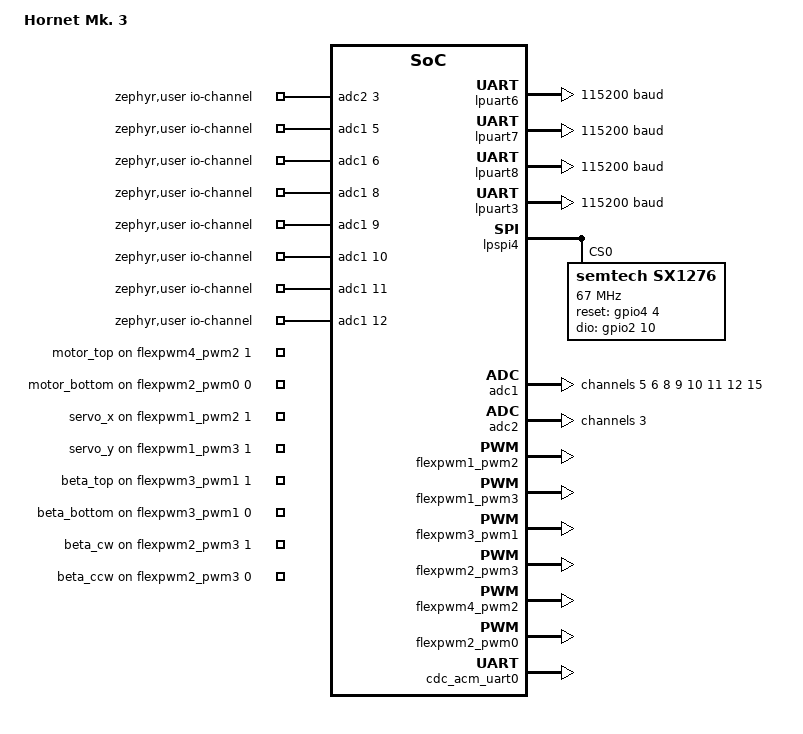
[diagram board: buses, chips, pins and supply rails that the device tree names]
/*
Hornet Mk. 3 board.
 */

/dts-v1/;

#include <../boards/pjrc/teensy4/teensy41.dts>
#include <zephyr/dt-bindings/pwm/pwm.h>

#define ANALOG_SENSORS_ADC_RESOLUTION 12
#define ANALOG_SENSORS_ADC_OVERSAMPLING 5

/*
TODO:
- LoRa radio
- Remove ADC1
*/

/ {
    model = "Hornet Mk. 3";

    aliases {
        // VN-300 IMU
        imu-uart = &lpuart6; // TX: Pin 1 (AD_B0_02), RX: Pin 0 (AD_B0_03)

        // TF02-Pro LiDARs
        lidar-1-uart = &lpuart7; // TX: Pin 29 (EMC_31), RX: Pin 28 (EMC_32)
        lidar-2-uart = &lpuart8; // TX: Pin 20 (AD_B1_10), RX: Pin 21 (AD_B1_11)

        // JAVAD TR-2S GNSS
        gnss-uart = &lpuart3; // TX: Pin 17 (AD_B1_06), RX: Pin 16 (AD_B1_07)

        // RFM95W LoRa tranceiver
        lora-tranceiver = &sx1276;
    };

    zephyr,user {
        // ADC channels used by AnalogSensors.
        analog-sensor-max-adc-channels = <16>;
        io-channels = <&adc2 3>,
                      <&adc1 5>,
                      <&adc1 6>,
                      <&adc1 8>,
                      <&adc1 9>,
                      <&adc1 10>,
                      <&adc1 11>,
                      <&adc1 12>,
                      <&adc1 15>;
        analog-sensor-adcs = <&adc1 &adc2>;
        analog-sensor-adc-oversampling = <ANALOG_SENSORS_ADC_OVERSAMPLING>;
        analog-sensor-adc-resolution = <ANALOG_SENSORS_ADC_RESOLUTION>;

        pwms =
            <&flexpwm4_pwm2 1 PWM_USEC(20000) PWM_POLARITY_NORMAL>,  /* motor_top    Pin 3   EMC_05    FlexPWM4.2 B */
            <&flexpwm2_pwm0 0 PWM_USEC(20000) PWM_POLARITY_NORMAL>,  /* motor_bottom Pin 4   EMC_06    FlexPWM2.0 A */
            <&flexpwm1_pwm2 1 PWM_USEC(20000) PWM_POLARITY_NORMAL>,  /* servo_x      Pin 24  AD_B0_12  FlexPWM1.2 X */
            <&flexpwm1_pwm3 1 PWM_USEC(20000) PWM_POLARITY_NORMAL>,  /* servo_y      Pin 25  AD_B0_13  FlexPWM1.2 X */
            <&flexpwm3_pwm1 1 PWM_USEC(20000) PWM_POLARITY_NORMAL>,  /* beta_top     Pin 28  EMC_32    FlexPWM3.1 B */
            <&flexpwm3_pwm1 0 PWM_USEC(20000) PWM_POLARITY_NORMAL>,  /* beta_bottom  Pin 29  EMC_31    FlexPWM3.1 A */
            <&flexpwm2_pwm3 1 PWM_USEC(20000) PWM_POLARITY_NORMAL>,  /* beta_cw      Pin 36  EMC_38    FlexPWM1.3 B */
            <&flexpwm2_pwm3 0 PWM_USEC(20000) PWM_POLARITY_NORMAL>;  /* beta_ccw     Pin 37  EMC_39    FlexPWM1.3 A */


        pwm-names = "motor_top", "motor_bottom",
                    "servo_x", "servo_y",
                    "beta_top", "beta_bottom", "beta_cw", "beta_ccw";
    };

    chosen {
        zephyr,console = &cdc_acm_uart0;
    };
};

// VN-300 IMU (pins 0/1)
&lpuart6 {
    status = "okay";
    current-speed = <115200>;
    pinctrl-0 = <&pinmux_lpuart6>;
    pinctrl-1 = <&pinmux_lpuart6_sleep>;
    pinctrl-names = "default", "sleep";
};

// TF-02 Pro LiDAR #1 (pins 28/29)
&lpuart7 {
    status = "okay";
    current-speed = <115200>;
    pinctrl-0 = <&pinmux_lpuart7>;
    pinctrl-1 = <&pinmux_lpuart7_sleep>;
    pinctrl-names = "default", "sleep";
};

// TF-02 Pro LiDAR #2 (pins 20/21)
&lpuart8 {
    status = "okay";
    current-speed = <115200>;
    pinctrl-0 = <&pinmux_lpuart8>;
    pinctrl-1 = <&pinmux_lpuart8_sleep>;
    pinctrl-names = "default", "sleep";
};

// JAVAD TR-2S GNSS (pins 16/17)
&lpuart3 {
    status = "okay";
    current-speed = <115200>;
    pinctrl-0 = <&pinmux_lpuart3>;
    pinctrl-1 = <&pinmux_lpuart3_sleep>;
    pinctrl-names = "default", "sleep";
};

// TODO: RFM95W RF CHIP, validate this? Duped on hornet/vehicle boards.
&lpspi4 {
    status = "okay";

    // TODO: Are the miso/mosi correct? this driver has a mio/sdo and I'm pretty sure there's an option to set which is miso/mosi.

    // Hardware CS0: Pin 10
    // MOSI: Pin 11
    // MISO: Pin 12
    // SCK: Pin 13

    // Is this right?
    // RFM95W: https: //www.adafruit.com/product/3072
    sx1276: sx1276@0 {
        compatible = "semtech,sx1276";
        reg = <0x0>;
        reset-gpios = <&gpio4 4 GPIO_ACTIVE_HIGH>; // Pin 4
        dio-gpios = <&gpio2 10 GPIO_ACTIVE_HIGH>; // Pin 6
        spi-max-frequency = <DT_FREQ_M(67)>; // THIS IS 100% WRONG!!!! FIX ME!!!!!
    };
};

// Docs: https: //docs.zephyrproject.org/latest/build/dts/api/bindings/pinctrl/nxp%2Cmcux-rt-pinctrl.html
&pinctrl {
    // ADC1 — removed AD_B1_03 (pin 15, LPUART2_RX) and AD_B1_10 (pin 20, LPUART8_TX)
    // to avoid pad conflicts if/when those UARTs are ever enabled.
    pinmux_adc1: pinmux_adc1 {
        group0 {
            pinmux = <&iomuxc_gpio_ad_b1_04_gpio1_io20>,
                     <&iomuxc_gpio_ad_b1_05_gpio1_io21>,
                     <&iomuxc_gpio_ad_b1_07_gpio1_io23>,
                     <&iomuxc_gpio_ad_b1_06_gpio1_io22>,
                     <&iomuxc_gpio_ad_b1_00_gpio1_io16>,
                     <&iomuxc_gpio_ad_b1_01_gpio1_io17>;
            bias-disable; // These should be pulled down by voltage divider
            drive-strength = "r0-6";
            slew-rate = "slow";
            nxp,speed = "100-mhz";
        };
    };

    /* AD_B0_12 -> FlexPWM1_PWMX2 (servo_x)
       AD_B0_13 -> FlexPWM1_PWMX3 (servo_y) */
    pinmux_flexpwm1_pwm2: pinmux_flexpwm1_pwm2 {
        group0 {
            pinmux = <&iomuxc_gpio_ad_b0_12_flexpwm1_pwmx2>;
            bias-disable;
            drive-strength = "r0-6";
            slew-rate = "slow";
            nxp,speed = "100-mhz";
        };
    };

        pinmux_flexpwm1_pwm3: pinmux_flexpwm1_pwm3 {
        group0 {
            pinmux = <&iomuxc_gpio_ad_b0_13_flexpwm1_pwmx3>;
            bias-disable;
            drive-strength = "r0-6";
            slew-rate = "slow";
            nxp,speed = "100-mhz";
        };
    };

    /* EMC_32 -> FlexPWM3_PWMB1 (beta_top)
       EMC_31 -> FlexPWM3_PWMA1 (beta_bottom) */
    pinmux_flexpwm3_pwm1: pinmux_flexpwm3_pwm1 {
        group0 {
            pinmux = <&iomuxc_gpio_emc_32_flexpwm3_pwmb1>,
                     <&iomuxc_gpio_emc_31_flexpwm3_pwma1>;
            bias-disable;
            drive-strength = "r0-6";
            slew-rate = "slow";
            nxp,speed = "100-mhz";
        };
    };

    /* EMC_38 -> FlexPWM1_PWMA3 (beta_cw)
       EMC_39 -> FlexPWM1_PWMB3 (beta_ccw) */
    pinmux_flexpwm2_pwm3: pinmux_flexpwm2_pwm3 {
        group0 {
            pinmux = <&iomuxc_gpio_b1_02_flexpwm2_pwma3>,
                     <&iomuxc_gpio_b1_03_flexpwm2_pwmb3>;
            bias-disable;
            drive-strength = "r0-6";
            slew-rate = "slow";
            nxp,speed = "100-mhz";
        };
    };

    /* EMC_05 -> FlexPWM4_PWMB2 (motor_top) */
    pinmux_flexpwm4_pwm2: pinmux_flexpwm4_pwm2 {
        group0 {
            pinmux = <&iomuxc_gpio_emc_05_flexpwm4_pwmb2>;
            bias-disable;
            drive-strength = "r0-6";
            slew-rate = "slow";
            nxp,speed = "100-mhz";
        };
    };

    /* EMC_06 -> FlexPWM2_PWMA0 (motor_bottom) */
    pinmux_flexpwm2_pwm0: pinmux_flexpwm2_pwm0 {
        group0 {
            pinmux = <&iomuxc_gpio_emc_06_flexpwm2_pwma0>;
            bias-disable;
            drive-strength = "r0-6";
            slew-rate = "slow";
            nxp,speed = "100-mhz";
        };
    };

    pinmux_adc2: pinmux_adc2 {
        group0 {
            pinmux = <&iomuxc_gpio_ad_b1_14_gpio1_io30>; // A12, pin 26
            bias-disable;
            drive-strength = "r0-6";
            slew-rate = "slow";
            nxp,speed = "100-mhz";
        };
    };

    // LPUART6: pins 0/1
    pinmux_lpuart6: pinmux_lpuart6 {
        group0 {
            pinmux = <&iomuxc_gpio_ad_b0_02_lpuart6_tx>,
                     <&iomuxc_gpio_ad_b0_03_lpuart6_rx>;
            drive-strength = "r0-6";
            slew-rate = "slow";
            nxp,speed = "100-mhz";
        };
    };

    pinmux_lpuart6_sleep: pinmux_lpuart6_sleep {
        group0 {
            pinmux = <&iomuxc_gpio_ad_b0_02_lpuart6_tx>;
            drive-strength = "r0-6";
            slew-rate = "slow";
            nxp,speed = "100-mhz";
        };
    };

    // LPUART7: pins 28/29
    pinmux_lpuart7: pinmux_lpuart7 {
        group0 {
            pinmux = <&iomuxc_gpio_emc_31_lpuart7_tx>,
                     <&iomuxc_gpio_emc_32_lpuart7_rx>;
            drive-strength = "r0-6";
            slew-rate = "slow";
            nxp,speed = "100-mhz";
        };
    };

    pinmux_lpuart7_sleep: pinmux_lpuart7_sleep {
        group0 {
            pinmux = <&iomuxc_gpio_emc_31_lpuart7_tx>;
            drive-strength = "r0-6";
            slew-rate = "slow";
            nxp,speed = "100-mhz";
        };
    };

    // LPUART8: pins 20/21
    pinmux_lpuart8: pinmux_lpuart8 {
        group0 {
            pinmux = <&iomuxc_gpio_ad_b1_10_lpuart8_tx>,
                     <&iomuxc_gpio_ad_b1_11_lpuart8_rx>;
            drive-strength = "r0-6";
            slew-rate = "slow";
            nxp,speed = "100-mhz";
        };
    };

    pinmux_lpuart8_sleep: pinmux_lpuart8_sleep {
        group0 {
            pinmux = <&iomuxc_gpio_ad_b1_10_lpuart8_tx>;
            drive-strength = "r0-6";
            slew-rate = "slow";
            nxp,speed = "100-mhz";
        };
    };

    // LPUART3: pins 16/17
    pinmux_lpuart3: pinmux_lpuart3 {
        group0 {
            pinmux = <&iomuxc_gpio_ad_b1_06_lpuart3_tx>,
                     <&iomuxc_gpio_ad_b1_07_lpuart3_rx>;
            drive-strength = "r0-6";
            slew-rate = "slow";
            nxp,speed = "100-mhz";
        };
    };

    pinmux_lpuart3_sleep: pinmux_lpuart3_sleep {
        group0 {
            pinmux = <&iomuxc_gpio_ad_b1_06_lpuart3_tx>;
            drive-strength = "r0-6";
            slew-rate = "slow";
            nxp,speed = "100-mhz";
        };
    };
};

&adc1 {
    status = "okay";
    pinctrl-0 = <&pinmux_adc1>;
    pinctrl-names = "default";
    #address-cells = <1>;
    #size-cells = <0>;

    channel@5 {
        reg = <0x5>;
        zephyr,gain = "ADC_GAIN_1";
        zephyr,reference = "ADC_REF_INTERNAL";
        zephyr,acquisition-time = <ADC_ACQ_TIME_DEFAULT>;
        zephyr,resolution = <ANALOG_SENSORS_ADC_RESOLUTION>;
        zephyr,oversampling = <ANALOG_SENSORS_ADC_OVERSAMPLING>;
    };

    channel@6 {
        reg = <0x6>;
        zephyr,gain = "ADC_GAIN_1";
        zephyr,reference = "ADC_REF_INTERNAL";
        zephyr,acquisition-time = <ADC_ACQ_TIME_DEFAULT>;
        zephyr,resolution = <ANALOG_SENSORS_ADC_RESOLUTION>;
        zephyr,oversampling = <ANALOG_SENSORS_ADC_OVERSAMPLING>;
    };

    channel@8 {
        reg = <0x8>;
        zephyr,gain = "ADC_GAIN_1";
        zephyr,reference = "ADC_REF_INTERNAL";
        zephyr,acquisition-time = <ADC_ACQ_TIME_DEFAULT>;
        zephyr,resolution = <ANALOG_SENSORS_ADC_RESOLUTION>;
        zephyr,oversampling = <ANALOG_SENSORS_ADC_OVERSAMPLING>;
    };

    channel@9 {
        reg = <0x9>;
        zephyr,gain = "ADC_GAIN_1";
        zephyr,reference = "ADC_REF_INTERNAL";
        zephyr,acquisition-time = <ADC_ACQ_TIME_DEFAULT>;
        zephyr,resolution = <ANALOG_SENSORS_ADC_RESOLUTION>;
        zephyr,oversampling = <ANALOG_SENSORS_ADC_OVERSAMPLING>;
    };

    channel@a {
        reg = <0xa>;
        zephyr,gain = "ADC_GAIN_1";
        zephyr,reference = "ADC_REF_INTERNAL";
        zephyr,acquisition-time = <ADC_ACQ_TIME_DEFAULT>;
        zephyr,resolution = <ANALOG_SENSORS_ADC_RESOLUTION>;
        zephyr,oversampling = <ANALOG_SENSORS_ADC_OVERSAMPLING>;
    };

    channel@b {
        reg = <0xb>;
        zephyr,gain = "ADC_GAIN_1";
        zephyr,reference = "ADC_REF_INTERNAL";
        zephyr,acquisition-time = <ADC_ACQ_TIME_DEFAULT>;
        zephyr,resolution = <ANALOG_SENSORS_ADC_RESOLUTION>;
        zephyr,oversampling = <ANALOG_SENSORS_ADC_OVERSAMPLING>;
    };

    channel@c {
        reg = <0xc>;
        zephyr,gain = "ADC_GAIN_1";
        zephyr,reference = "ADC_REF_INTERNAL";
        zephyr,acquisition-time = <ADC_ACQ_TIME_DEFAULT>;
        zephyr,resolution = <ANALOG_SENSORS_ADC_RESOLUTION>;
        zephyr,oversampling = <ANALOG_SENSORS_ADC_OVERSAMPLING>;
    };

    channel@f {
        reg = <0xf>;
        zephyr,gain = "ADC_GAIN_1";
        zephyr,reference = "ADC_REF_INTERNAL";
        zephyr,acquisition-time = <ADC_ACQ_TIME_DEFAULT>;
        zephyr,resolution = <ANALOG_SENSORS_ADC_RESOLUTION>;
        zephyr,oversampling = <ANALOG_SENSORS_ADC_OVERSAMPLING>;
    };
};

// ADC for battery sense
&adc2 {
    status = "okay";
    pinctrl-0 = <&pinmux_adc2>;
    pinctrl-names = "default";
    #address-cells = <1>;
    #size-cells = <0>;

    channel@3 {
        reg = <0x3>;
        zephyr,gain = "ADC_GAIN_1";
        zephyr,reference = "ADC_REF_INTERNAL";
        zephyr,acquisition-time = <ADC_ACQ_TIME_DEFAULT>;
        zephyr,resolution = <ANALOG_SENSORS_ADC_RESOLUTION>;
        zephyr,oversampling = <ANALOG_SENSORS_ADC_OVERSAMPLING>;
    };
};

/* ------------------------------------------------------------------ */
/* FlexPWM submodule enables with pinctrl                             */
/* ------------------------------------------------------------------ */

&flexpwm1_pwm2 {
    pinctrl-names = "default";
    pinctrl-0 = <&pinmux_flexpwm1_pwm2>;
    status = "okay";
};

&flexpwm1_pwm3 {
    pinctrl-names = "default";
    pinctrl-0 = <&pinmux_flexpwm1_pwm3>;
    status = "okay";
};

&flexpwm3_pwm1 {
    pinctrl-names = "default";
    pinctrl-0 = <&pinmux_flexpwm3_pwm1>;
    status = "okay";
};

&flexpwm2_pwm3 {
    pinctrl-names = "default";
    pinctrl-0 = <&pinmux_flexpwm2_pwm3>;
    status = "okay";
};

&flexpwm4_pwm2 {
    pinctrl-names = "default";
    pinctrl-0 = <&pinmux_flexpwm4_pwm2>;
    status = "okay";
};

&flexpwm2_pwm0 {
    pinctrl-names = "default";
    pinctrl-0 = <&pinmux_flexpwm2_pwm0>;
    status = "okay";
};

&zephyr_udc0 {
    cdc_acm_uart0: cdc_acm_uart0 {
        compatible = "zephyr,cdc-acm-uart";
        label = "CDC_ACM_0";
    };
};

&enet_mac {
    /delete-property/ nxp,unique-mac;
    local-mac-address = [ 67 67 67 67 67 67  ];
};
